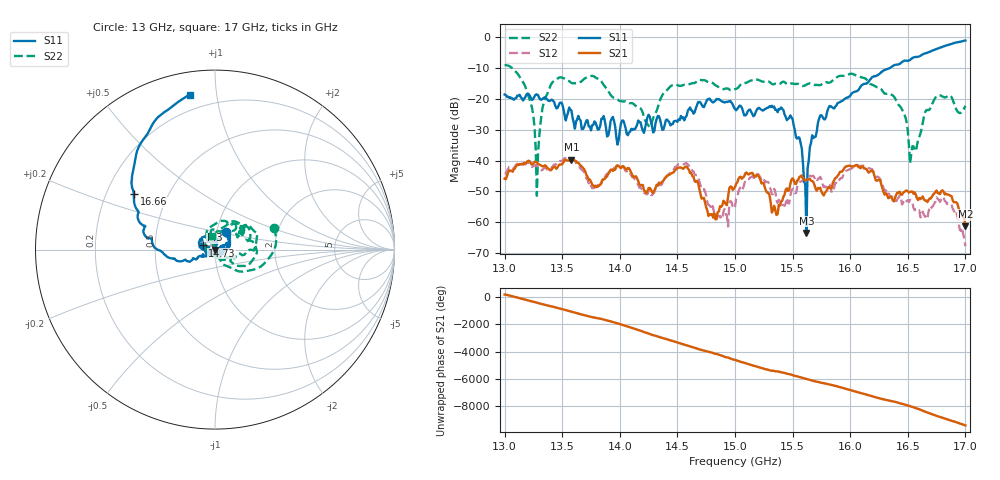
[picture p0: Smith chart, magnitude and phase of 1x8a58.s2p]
!Keysight Technologies,P9374A,MY57211807,A.19.30.04
!Date: Friday, May 08, 2026 14:15:44
!Correction: S11(C  2-Port  )
!S21(C  2-Port  )
!S12(C  2-Port  )
!S22(C  2-Port  )
!S2P File: Measurements: S11, S21, S12, S22:
# Hz S  dB  R 50
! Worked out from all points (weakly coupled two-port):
!   401 points, 13 GHz to 17 GHz, reference 50 ohm
!   highest |S21| = -39.69 dB at 13.58 GHz (marker M1); lowest = -61.2 dB at 17 GHz (marker M2)
!   lowest |S11| = -63.5 dB at 15.62 GHz (marker M3), VSWR 1.00, Z = 49.9 - j0.0211 ohm
!   |S11| at or under -10 dB: start of sweep to 16.35 GHz
!   |S22| runs from -51.4 to -9.1 dB; largest |S21 - S12| = 0.002
!   S11 on the Smith chart (normalised r, x): 13 GHz: 1.11, +0.22; 14.73 GHz: 0.87, +0.04; 16.66 GHz: 0.32, +0.28; 17 GHz: 0.12, +0.84
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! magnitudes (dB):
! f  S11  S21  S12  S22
! 13 GHz  -18.6  -45.8  -44.3  -9.1
! 13.19 GHz  -18.6  -40.6  -41.0  -17.2
! 13.28 GHz  -18.6  -40.5  -41.4  -51.4
! 13.4 GHz  -20.5  -43.2  -42.7  -15.6
! 13.58 GHz  -23.8  -39.7  -39.8  -14.9
! 13.67 GHz  -29.8  -42.0  -43.0  -14.3
! 14.25 GHz  -25.2  -48.9  -49.8  -28.7
! 14.34 GHz  -25.7  -47.1  -47.6  -21.5
! 14.58 GHz  -25.5  -42.0  -40.8  -15.5
! 14.73 GHz  -22.7  -52.1  -49.3  -14.0
! 15 GHz  -23.3  -48.6  -55.0  -16.9
! 15.2 GHz  -23.1  -44.8  -44.3  -13.9
! 15.35 GHz  -23.6  -56.0  -50.1  -15.1
! 15.48 GHz  -25.4  -47.6  -51.4  -15.1
! 15.62 GHz  -63.5  -46.5  -46.1  -15.5
! 15.67 GHz  -31.8  -46.7  -45.0  -15.3
! 16.06 GHz  -17.5  -41.4  -41.4  -12.6
! 16.34 GHz  -10.2  -52.0  -51.0  -18.3
! 16.54 GHz  -6.9  -50.0  -53.7  -35.3
! 16.66 GHz  -5.3  -52.9  -57.7  -23.7
! 16.81 GHz  -3.1  -50.0  -51.8  -19.5
! 17 GHz  -1.2  -61.2  -67.7  -22.3
